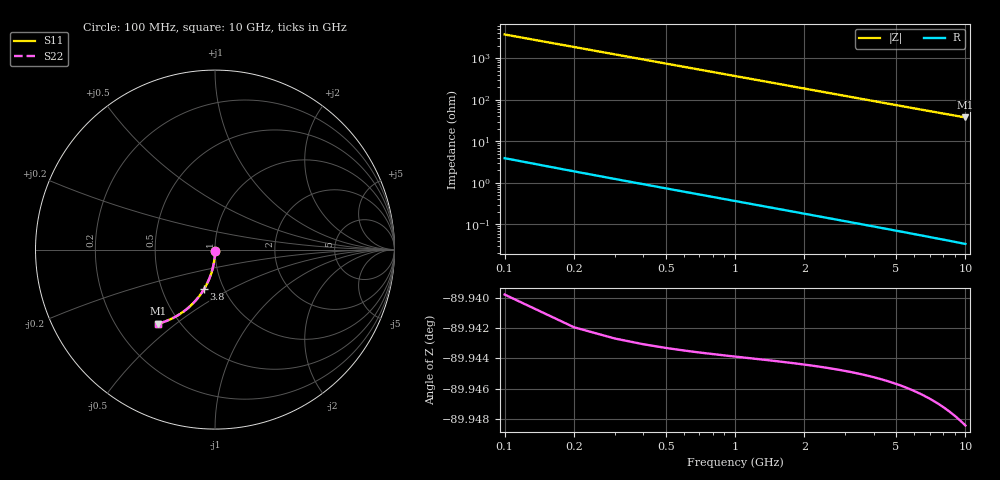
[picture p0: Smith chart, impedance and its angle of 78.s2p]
# Hz S RI R 50.00
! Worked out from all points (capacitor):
!   100 points, 100 MHz to 10 GHz, reference 50 ohm
!   read as one part in shunt: C = 426 fF near 100 MHz
!   lowest |Z| = 37.7 ohm at 10 GHz (marker M1)
!   S11 on the Smith chart (normalised r, x): 100 MHz: 1.00, -0.01; 3.8 GHz: 0.81, -0.38; 10 GHz: 0.38, -0.43
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1e8  5.73e-05 -0.00617  0.9998 -0.0072  0.9998 -0.0072  5.73e-05 -0.00617
2e8  -8.19e-05 -0.0123  0.9997 -0.0144  0.9997 -0.0144  -8.19e-05 -0.0123
3e8  -0.00031 -0.0185  0.9995 -0.0216  0.9995 -0.0216  -0.00031 -0.0185
4e8  -0.000627 -0.0247  0.9991 -0.0288  0.9991 -0.0288  -0.000627 -0.0247
5e8  -0.00103 -0.0308  0.9987 -0.036  0.9987 -0.036  -0.00103 -0.0308
6e8  -0.00153 -0.037  0.9982 -0.0432  0.9982 -0.0432  -0.00153 -0.037
7e8  -0.00211 -0.0431  0.9976 -0.0504  0.9976 -0.0504  -0.00211 -0.0431
8e8  -0.00278 -0.0492  0.997 -0.0575  0.997 -0.0575  -0.00278 -0.0492
9e8  -0.00354 -0.0554  0.9962 -0.0647  0.9962 -0.0647  -0.00354 -0.0554
1.1e9  -0.00532 -0.0676  0.9944 -0.0789  0.9944 -0.0789  -0.00532 -0.0676
1.4e9  -0.00864 -0.0857  0.991 -0.1002  0.991 -0.1002  -0.00864 -0.0857
1.8e9  -0.0143 -0.1096  0.9853 -0.1282  0.9853 -0.1282  -0.0143 -0.1096
2.1e9  -0.0194 -0.1272  0.9802 -0.149  0.9802 -0.149  -0.0194 -0.1272
2.5e9  -0.0273 -0.1503  0.9721 -0.1762  0.9721 -0.1762  -0.0273 -0.1503
2.9e9  -0.0364 -0.1727  0.9629 -0.2028  0.9629 -0.2028  -0.0364 -0.1727
3.4e9  -0.0495 -0.1997  0.9496 -0.2351  0.9496 -0.2351  -0.0495 -0.1997
3.8e9  -0.0613 -0.2205  0.9377 -0.26  0.9377 -0.26  -0.0613 -0.2205
4.4e9  -0.0807 -0.2499  0.918 -0.2958  0.918 -0.2958  -0.0807 -0.2499
5.1e9  -0.1058 -0.2815  0.8925 -0.3349  0.8925 -0.3349  -0.1058 -0.2815
6.7e9  -0.1709 -0.3419  0.8264 -0.4123  0.8264 -0.4123  -0.1709 -0.3419
8.4e9  -0.2465 -0.3872  0.7493 -0.4762  0.7493 -0.4762  -0.2465 -0.3872
1e10  -0.3187 -0.4132  0.6753 -0.52  0.6753 -0.52  -0.3187 -0.4132
